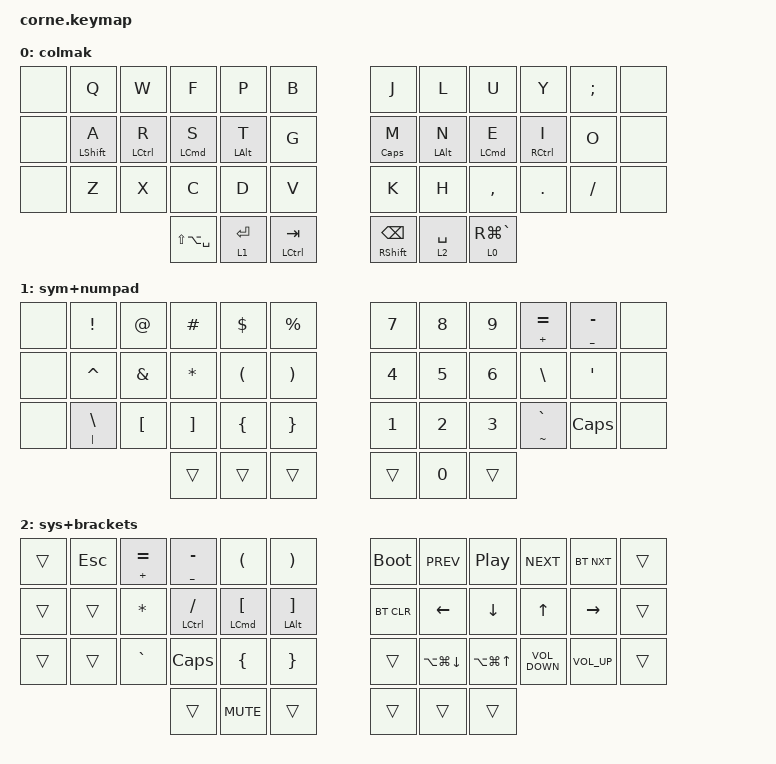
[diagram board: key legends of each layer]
/*
 * Copyright (c) 2020 The ZMK Contributors
 *
 * SPDX-License-Identifier: MIT
 */

#include <behaviors.dtsi>
#include <dt-bindings/zmk/bt.h>
#include <dt-bindings/zmk/keys.h>

&mt { flavor = "balanced"; };

&lt { flavor = "balanced"; };

/ {
    combos {
        compatible = "zmk,combos";

        Escape {
            bindings = <&kp ESC>;
            key-positions = <20 15>;
            timeout-ms = <60>;
        };
    };

    macros {
        window_up: window_up {
            compatible = "zmk,behavior-macro";
            #binding-cells = <0>;
            bindings = <&kp LC(C_AC_NEXT_KEYBOARD_LAYOUT_SELECT) &kp UP_ARROW>;
            label = "WINDOW_UP";
        };
    };

    keymap {
        compatible = "zmk,keymap";

        colmak {
            bindings = <
&none  &kp Q             &kp W               &kp F               &kp P           &kp B                   &kp J                      &kp L           &kp U               &kp Y                &kp SEMI   &none
&none  &mt LEFT_SHIFT A  &mt LEFT_CONTROL R  &mt LEFT_COMMAND S  &mt LEFT_ALT T  &kp G                   &mt CAPSLOCK M             &mt LEFT_ALT N  &mt LEFT_COMMAND E  &mt RIGHT_CONTROL I  &kp O      &none
&none  &kp Z             &kp X               &kp C               &kp D           &kp V                   &kp K                      &kp H           &kp COMMA           &kp DOT              &kp SLASH  &none
                                             &kp LS(LA(SPACE))   &lt 1 ENTER     &mt LEFT_CONTROL TAB    &mt RIGHT_SHIFT BACKSPACE  &lt 2 SPACE     &lt 0 RG(GRAVE)
            >;
        };

        sym+numpad {
            // -----------------------------------------------------------------------------------------
            // |  TAB |  !  |  @  |  #  |  $  |  %  |   |  ^  |  &  |  *  |  (  |  )  | BKSP |
            // | CTRL |     |     |     |     |     |   |  -  |  =  |  [  |  ]  |  \  |  `   |
            // | SHFT |     |     |     |     |     |   |  _  |  +  |  {  |  }  | "|" |  ~   |
            //                    | GUI |     | SPC |   | ENT |     | ALT |

            bindings = <
&none  &kp EXCL            &kp AT            &kp POUND          &kp DLLR              &kp PRCNT                &kp N7  &kp N8        &kp N9  &mt PLUS EQUAL   &mt UNDER MINUS   &none
&none  &kp CARET           &kp AMPERSAND     &kp ASTERISK       &kp LEFT_PARENTHESIS  &kp RIGHT_PARENTHESIS    &kp N4  &kp N5        &kp N6  &kp BACKSLASH    &kp SINGLE_QUOTE  &none
&none  &mt PIPE BACKSLASH  &kp LEFT_BRACKET  &kp RIGHT_BRACKET  &kp LEFT_BRACE        &kp RIGHT_BRACE          &kp N1  &kp N2        &kp N3  &mt TILDE GRAVE  &kp CAPS          &none
                                             &trans             &trans                &trans                   &trans  &kp NUMBER_0  &trans
            >;
        };

        sys+brackets {
            bindings = <
&trans  &kp ESCAPE  &mt PLUS EQUAL  &mt UNDERSCORE MINUS    &kp LEFT_PARENTHESIS           &kp RIGHT_PARENTHESIS         &bootloader  &kp C_PREV        &kp C_PP        &kp C_NEXT         &bt BT_NXT       &trans
&trans  &trans      &kp ASTERISK    &mt LEFT_CONTROL SLASH  &mt LEFT_COMMAND LEFT_BRACKET  &mt LEFT_ALT RIGHT_BRACKET    &bt BT_CLR   &kp LEFT_ARROW    &kp DOWN_ARROW  &kp UP_ARROW       &kp RIGHT        &trans
&trans  &trans      &kp GRAVE       &kp CAPS                &kp LEFT_BRACE                 &kp RIGHT_BRACE               &trans       &kp LA(LG(DOWN))  &kp LA(LG(UP))  &kp C_VOLUME_DOWN  &kp C_VOLUME_UP  &trans
                                    &trans                  &kp K_MUTE                     &trans                        &trans       &trans            &trans
            >;
        };
    };
};
